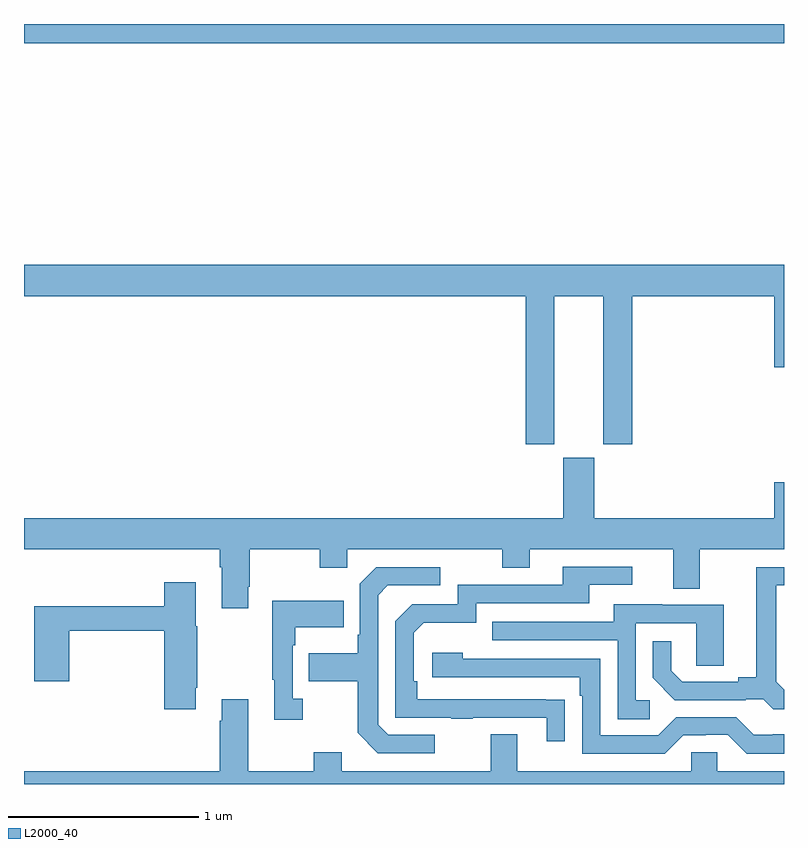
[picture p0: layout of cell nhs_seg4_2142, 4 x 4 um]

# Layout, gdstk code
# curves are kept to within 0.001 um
import gdstk
lib = gdstk.Library(unit=1e-6, precision=1e-09)
def R(c, l, rs):  # rectangles x0, y0, x1, y1
    for r in rs: c.add(gdstk.rectangle(r[:2], r[2:], *l))
def P(c, l, *ps):  # polygons
    for p in ps: c.add(gdstk.Polygon(p, *l))
L2000_40 = (2000, 40)

nhs_seg4_2142 = lib.new_cell('nhs_seg4_2142')
R(nhs_seg4_2142, L2000_40, [(221,816.8,225,816.9)])
P(nhs_seg4_2142, L2000_40, [(223.792,815.468),(224.048,815.468),(224.048,814.689),(224.201,814.689),(224.201,815.468),(224.948,815.468),(224.948,815.094),(225,815.094),(225,815.632),(221,815.632),(221,815.468),(223.64,815.468),(223.64,814.689),(223.792,814.689)],
  [(222.181,813.937),(222.189,813.937),(222.189,814.136),(222.556,814.136),(222.556,814.037),(222.702,814.037),(222.702,814.136),(223.516,814.136),(223.516,814.037),(223.663,814.037),(223.663,814.136),(224.417,814.136),(224.417,813.928),(224.557,813.928),(224.557,814.136),(225,814.136),(225,814.489),(224.948,814.489),(224.948,814.3),(224.002,814.3),(224.002,814.617),(223.838,814.617),(223.838,814.3),(221,814.3),(221,814.136),(222.029,814.136),(222.029,814.04),(222.041,814.04),(222.041,813.825),(222.181,813.825)],
  [(223.847,813.344),(223.07,813.345),(223.07,813.442),(223.05,813.442),(223.05,813.696),(223.103,813.749),(223.38,813.749),(223.38,813.852),(223.975,813.852),(223.975,813.948),(224.2,813.948),(224.2,814.044),(223.835,814.044),(223.835,813.948),(223.284,813.948),(223.284,813.846),(223.044,813.846),(222.954,813.756),(222.954,813.249),(223.249,813.249),(223.249,813.244),(223.361,813.244),(223.361,813.249),(223.751,813.249),(223.751,813.126),(223.847,813.126)],
  [(223.162,813.159),(222.918,813.159),(222.864,813.213),(222.864,813.894),(222.915,813.945),(223.192,813.945),(223.192,814.041),(222.855,814.041),(222.768,813.954),(222.768,813.685),(222.756,813.685),(222.756,813.589),(222.499,813.589),(222.499,813.442),(222.756,813.442),(222.756,813.169),(222.861,813.063),(223.162,813.063)],
  [(225,813.396),(224.959,813.437),(224.959,813.945),(225,813.945),(225,814.041),(224.855,814.041),(224.855,813.461),(224.759,813.461),(224.759,813.438),(224.464,813.438),(224.407,813.495),(224.407,813.652),(224.31,813.652),(224.31,813.458),(224.426,813.342),(224.798,813.342),(224.798,813.345),(224.892,813.345),(224.944,813.293),(225,813.293)],
  [(221.905,813.406),(221.913,813.406),(221.913,813.729),(221.905,813.729),(221.905,813.961),(221.738,813.961),(221.738,813.835),(221.054,813.835),(221.054,813.441),(221.237,813.441),(221.237,813.706),(221.738,813.706),(221.738,813.294),(221.905,813.294)],
  [(222.466,813.35),(222.414,813.35),(222.414,813.629),(222.427,813.629),(222.427,813.725),(222.683,813.725),(222.683,813.865),(222.306,813.865),(222.306,813.449),(222.317,813.449),(222.317,813.237),(222.466,813.237)],
  [(224.293,813.342),(224.22,813.342),(224.22,813.747),(224.538,813.747),(224.538,813.523),(224.683,813.523),(224.683,813.843),(224.359,813.843),(224.359,813.847),(224.105,813.847),(224.105,813.753),(223.465,813.753),(223.465,813.657),(224.124,813.657),(224.124,813.241),(224.293,813.241)],
  [(225,813.163),(224.941,813.163),(224.941,813.159),(224.841,813.159),(224.748,813.252),(224.433,813.252),(224.337,813.156),(224.034,813.156),(224.034,813.558),(223.31,813.558),(223.31,813.592),(223.149,813.592),(223.149,813.462),(223.925,813.462),(223.925,813.365),(223.938,813.365),(223.938,813.06),(224.373,813.06),(224.469,813.156),(224.588,813.156),(224.588,813.159),(224.703,813.159),(224.803,813.059),(225,813.059)],
  [(225,812.968),(224.649,812.968),(224.649,813.066),(224.511,813.066),(224.511,812.968),(223.597,812.968),(223.597,813.163),(223.457,813.163),(223.457,812.968),(222.673,812.968),(222.673,813.067),(222.526,813.067),(222.526,812.968),(222.181,812.968),(222.181,813.346),(222.041,813.346),(222.041,813.233),(222.029,813.233),(222.029,812.968),(221,812.968),(221,812.9),(225,812.9)])

lib.write_gds('nhs_seg4_2142.gds')
